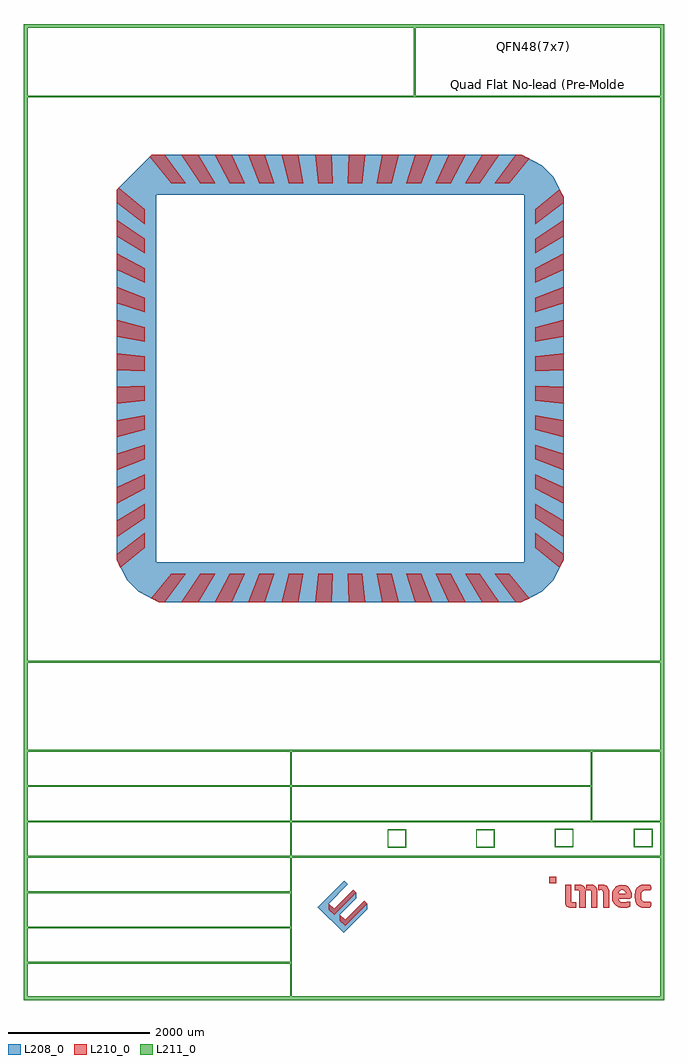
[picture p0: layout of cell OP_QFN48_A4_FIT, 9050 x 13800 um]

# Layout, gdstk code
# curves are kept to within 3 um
import gdstk
lib = gdstk.Library(unit=1e-6, precision=1e-09)
def P(c, l, *ps):  # polygons
    for p in ps: c.add(gdstk.Polygon(p, *l))
L208_0 = (208, 0)
L210_0 = (210, 0)
L211_0 = (211, 0)

new_imeclogo_mag5 = lib.new_cell('new_imecLogo_mag5')
P(new_imeclogo_mag5, L210_0, [(2610.17,0.04),(2610.17,3.28),(2585.455,3.28),(2585.455,7.54),(2576.14,7.54),(2576.14,15.04),(2565.17,15.04),(2565.17,22.54),(2557.67,22.54),(2557.67,30.04),(2542.67,30.04),(2542.67,37.54),(2527.67,37.54),(2527.67,45.04),(2520.17,45.04),(2520.17,52.54),(2505.17,52.54),(2505.17,60.04),(2497.67,60.04),(2497.67,67.54),(2490.17,67.54),(2490.17,75.04),(2482.67,75.04),(2482.67,82.54),(2475.17,82.54),(2475.17,97.54),(2467.67,97.54),(2467.67,105.04),(2460.17,105.04),(2460.17,120.04),(2452.67,120.04),(2452.67,127.54),(2445.17,127.54),(2445.17,138.4),(2437.67,138.4),(2437.67,172.54),(2430.17,172.54),(2430.17,209.675),(2422.67,209.675),(2422.67,262.54),(2415.17,262.54),(2415.17,390.04),(2422.67,390.04),(2422.67,452.91),(2430.17,452.91),(2430.17,472.54),(2437.67,472.54),(2437.67,499.24),(2445.17,499.24),(2445.17,517.54),(2452.67,517.54),(2452.67,525.04),(2460.17,525.04),(2460.17,532.54),(2467.67,532.54),(2467.67,547.54),(2475.17,547.54),(2475.17,555.04),(2482.67,555.04),(2482.67,562.54),(2490.17,562.54),(2490.17,570.04),(2497.67,570.04),(2497.67,577.54),(2504.01,577.54),(2504.01,592.54),(2520.17,592.54),(2520.17,600.04),(2535.17,600.04),(2535.17,607.54),(2542.67,607.54),(2542.67,615.04),(2562.48,615.04),(2562.48,630.4),(2590.835,630.4),(2590.835,637.54),(2640.17,637.54),(2640.17,645.04),(2782.67,645.04),(2782.67,637.54),(2830.38,637.54),(2830.38,630.04),(2850.17,630.04),(2850.17,622.54),(2857.67,622.54),(2857.67,607.54),(2865.17,607.54),(2865.17,592.54),(2872.67,592.54),(2872.67,510.04),(2865.17,510.04),(2865.17,495.305),(2848.555,495.305),(2848.555,487.54),(2662.67,487.54),(2662.67,480.04),(2640.17,480.04),(2640.17,472.54),(2632.67,472.54),(2632.67,465.04),(2625.17,465.04),(2625.17,457.54),(2617.67,457.54),(2617.67,450.04),(2610.17,450.04),(2610.17,427.54),(2602.67,427.54),(2602.67,412.54),(2595.17,412.54),(2595.17,225.04),(2602.67,225.04),(2602.67,217.54),(2609.485,217.54),(2609.485,200.97),(2617.62,200.97),(2617.62,189.98),(2623.475,189.98),(2623.475,182.09),(2629.65,182.09),(2629.65,174.885),(2635.48,174.885),(2635.48,170.765),(2645.43,170.765),(2645.43,166.99),(2653.325,166.99),(2653.325,165.04),(2662.67,165.04),(2662.67,162.555),(2831.765,162.555),(2831.765,157.54),(2850.17,157.54),(2850.17,150.04),(2857.67,150.04),(2857.67,142.54),(2865.17,142.54),(2865.17,127.54),(2872.67,127.54),(2872.67,45.04),(2865.17,45.04),(2865.17,27.5),(2857.925,27.5),(2857.925,15.04),(2844.12,15.04),(2844.12,7.54),(2831.725,7.54),(2831.725,0.04)],
  [(2009.955,0.04),(1965.955,7.005),(1887.67,46.895),(1826.35,108.215),(1780.835,197.545),(1777.67,217.54),(1777.67,427.54),(1780.485,445.33),(1826.35,535.34),(1887.67,596.66),(1964.94,636.03),(2050.59,649.595),(2136.24,636.03),(2160.17,623.835),(2160.17,440.2),(2152.67,440.2),(2152.67,450.71),(2145.17,450.71),(2145.17,465.04),(2130.17,465.04),(2130.17,480.04),(2115.17,480.04),(2115.17,487.54),(2088.19,487.54),(2088.19,495.04),(2071.68,495.04),(2071.68,502.54),(2033.29,502.54),(2033.29,495.04),(2012.63,495.04),(2012.63,487.59),(1995.01,487.59),(1995.01,479.91),(1981.78,479.91),(1981.78,465.275),(1965.78,465.275),(1965.78,450.645),(1962,450.645),(1962,438.025),(1957.67,438.025),(1957.67,382.54),(2160.17,382.54),(2160.17,623.835),(2213.51,596.66),(2274.83,535.34),(2319.655,447.365),(2325.17,412.54),(2325.17,296.915),(2317.39,296.915),(2317.39,286.53),(2307.35,286.53),(2307.35,276.755),(2297.63,276.755),(2297.63,269.375),(2291.355,269.375),(2291.355,256.01),(2283.16,256.01),(2283.16,247.54),(1957.67,247.54),(1957.67,209.835),(1962.72,209.835),(1966.805,188.64),(1971.62,188.64),(1971.62,182.665),(1976.915,182.665),(1976.915,176.38),(1982.03,176.38),(1982.03,170.325),(1993.005,165.795),(1997.4,157.54),(2014.165,153.955),(2014.165,150.04),(2182.67,150.04),(2182.67,164.97),(2272.67,165.04),(2272.67,156.405),(2280.17,156.405),(2280.17,142.54),(2287.67,142.54),(2287.67,52.54),(2278.895,52.54),(2278.895,30.21),(2265.34,30.21),(2265.34,14.57),(2247.32,14.57),(2247.32,6.12),(2210.76,6.12),(2210.76,0.205)],
  [(1530.17,0.04),(1515.18,0.215),(1515.17,465.04),(1507.67,465.04),(1507.67,472.54),(1500.17,472.54),(1500.17,480.04),(1492.67,480.04),(1492.67,487.54),(1380.17,487.535),(1380.17,644.93),(1554.2,643.61),(1613,613.65),(1654.355,572.295),(1683.22,515.65),(1687.67,487.54),(1687.67,0.04)],
  [(1192.67,0.04),(1177.67,0.06),(1177.67,472.54),(1170.17,472.54),(1170.17,480.04),(1162.67,480.04),(1162.67,487.54),(1042.735,487.61),(1042.735,645.005),(1215.17,645.04),(1231.91,640.38),(1284.305,613.685),(1325.66,572.33),(1352.625,519.42),(1357.67,487.54),(1357.67,0.06)],
  [(862.67,0.04),(847.74,0.06),(847.67,472.54),(840.17,472.54),(840.17,480.04),(825.17,480.04),(825.17,487.54),(712.665,487.645),(712.665,645.04),(870.61,645.04),(899.245,640.5),(951.64,613.805),(992.995,572.45),(1023.775,512.045),(1027.67,487.54),(1027.67,0.06)],
  [(574.395,0),(536.005,4.98),(501.37,19.425),(473.885,41.925),(456.235,70.275),(450.17,99.69),(450.185,645.04),(622.66,645.035),(622.7,150.065),(757.68,150.04),(757.67,0.04)],
  [(15.17,690.04),(15.17,690.125),(0,690.125),(0,705.04),(0.17,705.04),(0.17,855.04),(0.165,855.04),(0.165,870.045),(15.17,870.045),(15.17,870.04),(187.655,870.04),(187.655,855.04),(187.67,855.04),(187.67,690.04)])

ep_logo = lib.new_cell('EP_LOGO')
P(ep_logo, L208_0, [(24.3,0),(0,24.3),(24.9,49.2),(28.4,45.7),(10.4,27.7),(15.3,22.8),(33.3,40.8),(36.2,37.9),(36.2,32.7),(20.8,17.3),(25.7,12.4),(43.7,30.4),(46.6,27.5),(46.6,22.3)])
P(ep_logo, L210_0, [(15.3,17),(10.4,21.9),(10.4,27.7),(15.3,22.8)],
  [(25.7,6.6),(25.7,12.4),(43.7,30.4),(46.6,27.5)],
  [(25.7,6.6),(20.8,11.5),(20.8,17.3),(25.7,12.4)],
  [(15.3,17),(15.3,22.8),(33.3,40.8),(36.2,37.9)])

ep_text = lib.new_cell('EP_TEXT')
ep_text.add(gdstk.Label('www.europractice.imec.be', (3282.8,107.5), layer=211, texttype=0))
ep_text.add(gdstk.Label('Europractice', (3282.8,2445), layer=211, texttype=0))
ep_text.add(gdstk.Label('IC Service', (3285,1689.3), layer=211, texttype=0))
ep_text.add(gdstk.Label('Coordinated by IMEC', (3288.5,994.2), layer=211, texttype=0))

c_a4 = lib.new_cell('A4')
P(c_a4, L211_0, [(19200.2,5267.9),(19200.2,5792.9),(19700.2,5792.9),(19700.2,5767.9),(19225.2,5767.9),(19225.2,5292.9),(19700.2,5292.9),(19700.2,5792.9),(19725.2,5792.9),(19725.2,5267.9)],
  [(16962,5267.9),(16962,5792.9),(17462,5792.9),(17462,5767.9),(16987,5767.9),(16987,5292.9),(17462,5292.9),(17462,5792.9),(17487,5792.9),(17487,5267.9)],
  [(14735.3,5252.8),(14735.3,5777.8),(15235.3,5777.8),(15235.3,5752.8),(14760.3,5752.8),(14760.3,5277.8),(15235.3,5277.8),(15235.3,5777.8),(15260.3,5777.8),(15260.3,5252.8)],
  [(12231.6,5252.8),(12231.6,5777.8),(12731.6,5777.8),(12731.6,5752.8),(12256.6,5752.8),(12256.6,5277.8),(12731.6,5277.8),(12731.6,5777.8),(12756.6,5777.8),(12756.6,5252.8)],
  [(1950,949.9),(1950,28549.9),(19950,28549.9),(19950,28449.9),(2050,28449.9),(2050,1049.9),(19950,1049.9),(19950,28549.9),(20050,28549.9),(20050,949.9)])
c_a4.add(gdstk.FlexPath([(2000,1999.9),(9500,1999.9)], 50, ends="flush", simple_path=True, layer=211, datatype=0))  # L211_0
c_a4.add(gdstk.FlexPath([(9500,999.9),(9500,7999.9)], 50, ends="flush", simple_path=True, layer=211, datatype=0))  # L211_0
c_a4.add(gdstk.FlexPath([(2000,7999.9),(20000,7999.9)], 50, ends="flush", simple_path=True, layer=211, datatype=0))  # L211_0
c_a4.add(gdstk.FlexPath([(2000,2999.9),(9500,2999.9)], 50, ends="flush", simple_path=True, layer=211, datatype=0))  # L211_0
c_a4.add(gdstk.FlexPath([(2000,3999.9),(9500,3999.9)], 50, ends="flush", simple_path=True, layer=211, datatype=0))  # L211_0
c_a4.add(gdstk.FlexPath([(2000,4999.9),(9500,4999.9)], 50, ends="flush", simple_path=True, layer=211, datatype=0))  # L211_0
c_a4.add(gdstk.FlexPath([(2000,5999.9),(9500,5999.9)], 50, ends="flush", simple_path=True, layer=211, datatype=0))  # L211_0
c_a4.add(gdstk.FlexPath([(2000,6999.9),(9500,6999.9)], 50, ends="flush", simple_path=True, layer=211, datatype=0))  # L211_0
c_a4.add(gdstk.FlexPath([(2000,10513.45),(20000,10513.45)], 50, ends="flush", simple_path=True, layer=211, datatype=0))  # L211_0
c_a4.add(gdstk.FlexPath([(18000,5999.9),(20000,5999.9)], 50, ends="flush", simple_path=True, layer=211, datatype=0))  # L211_0
c_a4.add(gdstk.FlexPath([(18000,5999.9),(18000,7999.9)], 50, ends="flush", simple_path=True, layer=211, datatype=0))  # L211_0
c_a4.add(gdstk.FlexPath([(9500,6999.9),(18000,6999.9)], 50, ends="flush", simple_path=True, layer=211, datatype=0))  # L211_0
c_a4.add(gdstk.FlexPath([(9500,5999.9),(18000,5999.9)], 50, ends="flush", simple_path=True, layer=211, datatype=0))  # L211_0
c_a4.add(gdstk.FlexPath([(9500,4999.9),(20000,4999.9)], 50, ends="flush", simple_path=True, layer=211, datatype=0))  # L211_0
c_a4.add(gdstk.FlexPath([(2000,26499.9),(20000,26499.9)], 50, ends="flush", simple_path=True, layer=211, datatype=0))  # L211_0
c_a4.add(gdstk.FlexPath([(13000,28499.9),(13000,26499.9)], 50, ends="flush", simple_path=True, layer=211, datatype=0))  # L211_0
c_a4.add(gdstk.Reference(new_imeclogo_mag5, (16810.185,3565.565)))
c_a4.add(gdstk.Reference(ep_logo, (10258.4,2846.8), magnification=30))
c_a4.add(gdstk.Reference(ep_text, (11419.3,1585)))
c_a4.add(gdstk.Label('Extra Info:', (2858.66,8222.15), layer=211, texttype=0))
c_a4.add(gdstk.Label('Die-thickness:', (2858.7,8607.91), layer=211, texttype=0))
c_a4.add(gdstk.Label('Pad-opening:', (2858.7,8993.51), layer=211, texttype=0))
c_a4.add(gdstk.Label('Pad-pitch :', (2858.7,9379.59), layer=211, texttype=0))
c_a4.add(gdstk.Label('Qty naked:', (2329.4,4305.6), layer=211, texttype=0))
c_a4.add(gdstk.Label('Date:', (9749.6,7375.2), layer=211, texttype=0))
c_a4.add(gdstk.Label('Glass', (17896.6,5436.4), layer=211, texttype=0))
c_a4.add(gdstk.Label('Comment:', (2341.3,10170.31), layer=211, texttype=0))
c_a4.add(gdstk.Label('Request:', (2477.7,27250.2), layer=211, texttype=0))
c_a4.add(gdstk.Label('MPW:', (2293.6,7337.7), layer=211, texttype=0))
c_a4.add(gdstk.Label('Die:', (2282.9,6360.8), layer=211, texttype=0))
c_a4.add(gdstk.Label('Qty packaged:', (2330.3,5364), layer=211, texttype=0))
c_a4.add(gdstk.Label('Lid:', (9748.2,5336.2), layer=211, texttype=0))
c_a4.add(gdstk.Label('Size incl scribe:', (9764.3,6340.4), layer=211, texttype=0))
c_a4.add(gdstk.Label('Scale', (19000,7399.9), layer=211, texttype=0))
c_a4.add(gdstk.Label('10', (18950,6699.9), layer=211, texttype=0))
c_a4.add(gdstk.Label('Die Attach:', (2303.6,3315.4), layer=211, texttype=0))
c_a4.add(gdstk.Label('Wire:', (2372.2,2319), layer=211, texttype=0))
c_a4.add(gdstk.Label('Max. wire length :', (2858.74,9764.55), layer=211, texttype=0))
c_a4.add(gdstk.Label('Sealed', (13153.7,5398.2), layer=211, texttype=0))
c_a4.add(gdstk.Label('Taped', (10770.8,5383.6), layer=211, texttype=0))
c_a4.add(gdstk.Label('Glued', (15617,5421.9), layer=211, texttype=0))

op_qfn48 = lib.new_cell('OP_QFN48')
P(op_qfn48, L208_0, [(-2564.42,-3162.5),(-2600,-3144.189),(-2600,-3130.904),(-2635.89,-3125.219),(-2848.375,-3016.953),(-3017.003,-2848.325),(-3125.269,-2635.84),(-3130.946,-2600),(-3144.119,-2600),(-3162.5,-2564.283),(-3162.5,2666.1),(-2666.1,3162.5),(2563.4,3162.5),(2600,3143.664),(2600,2600),(-2600,2600),(-2600,-2600),(2600,-2600),(2600,3130.98),(2635.74,3125.319),(2848.225,3017.053),(3016.853,2848.425),(3125.119,2635.94),(3130.812,2600),(3144.311,2600),(3162.5,2564.657),(3162.5,-2563.607),(3143.771,-2600),(3130.796,-2600),(3125.119,-2635.84),(3016.853,-2848.325),(2848.225,-3016.953),(2635.74,-3125.219),(2600,-3130.88),(2600,-3142.121),(2560.401,-3162.5)])
P(op_qfn48, L210_0, [(-2564.42,-3162.5),(-2673.142,-3106.547),(-2392,-2760.5),(-2184,-2760.5),(-2482.2,-3162.5)],
  [(2184.196,2760.5),(2482.396,3162.5),(2564,3162.5),(2673.156,3106.324),(2392.196,2760.5)],
  [(2482.396,-3162.5),(2184.196,-2760.5),(2392.196,-2760.5),(2672.095,-3105.018),(2560.401,-3162.5)],
  [(-3106.427,-2673.24),(-3162.5,-2564.283),(-3162.5,-2482.396),(-2760.5,-2184.196),(-2760.5,-2392.196)],
  [(3106.181,-2673.041),(2760.5,-2392.196),(2760.5,-2184.196),(3162.5,-2482.396),(3162.5,-2563.607)],
  [(2009.596,-3162.5),(1768.196,-2760.5),(1976.196,-2760.5),(2245.996,-3162.5)],
  [(1536.796,-3162.5),(1352.196,-2760.5),(1560.196,-2760.5),(1773.196,-3162.5)],
  [(1063.996,-3162.5),(936.196,-2760.5),(1144.196,-2760.5),(1300.396,-3162.5)],
  [(591.196,-3162.5),(520.196,-2760.5),(728.196,-2760.5),(827.596,-3162.5)],
  [(118.396,-3162.5),(104.196,-2760.5),(312.196,-2760.5),(354.796,-3162.5)],
  [(-354.6,-3162.5),(-312,-2760.5),(-104,-2760.5),(-118.2,-3162.5)],
  [(-827.4,-3162.5),(-728,-2760.5),(-520,-2760.5),(-591,-3162.5)],
  [(-1300.2,-3162.5),(-1144,-2760.5),(-936,-2760.5),(-1063.8,-3162.5)],
  [(-1773,-3162.5),(-1560,-2760.5),(-1352,-2760.5),(-1536.6,-3162.5)],
  [(-2245.8,-3162.5),(-1976,-2760.5),(-1768,-2760.5),(-2009.4,-3162.5)],
  [(2760.5,2184),(2760.5,2392),(3106.634,2673.212),(3162.5,2564.657),(3162.5,2482.2)],
  [(1768.196,2760.5),(2009.596,3162.5),(2245.996,3162.5),(1976.196,2760.5)],
  [(1352.196,2760.5),(1536.796,3162.5),(1773.196,3162.5),(1560.196,2760.5)],
  [(936.196,2760.5),(1063.996,3162.5),(1300.396,3162.5),(1144.196,2760.5)],
  [(520.196,2760.5),(591.196,3162.5),(827.596,3162.5),(728.196,2760.5)],
  [(104.196,2760.5),(118.396,3162.5),(354.796,3162.5),(312.196,2760.5)],
  [(-312,2760.5),(-354.6,3162.5),(-118.2,3162.5),(-104,2760.5)],
  [(-728,2760.5),(-827.4,3162.5),(-591,3162.5),(-520,2760.5)],
  [(-1144,2760.5),(-1300.2,3162.5),(-1063.8,3162.5),(-936,2760.5)],
  [(-1560,2760.5),(-1773,3162.5),(-1536.6,3162.5),(-1352,2760.5)],
  [(-1976,2760.5),(-2245.8,3162.5),(-2009.4,3162.5),(-1768,2760.5)],
  [(3162.5,-2245.996),(2760.5,-1976.196),(2760.5,-1768.196),(3162.5,-2009.596)],
  [(3162.5,-1773.196),(2760.5,-1560.196),(2760.5,-1352.196),(3162.5,-1536.796)],
  [(3162.5,-1300.396),(2760.5,-1144.196),(2760.5,-936.196),(3162.5,-1063.996)],
  [(3162.5,-827.596),(2760.5,-728.196),(2760.5,-520.196),(3162.5,-591.196)],
  [(3162.5,-354.796),(2760.5,-312.196),(2760.5,-104.196),(3162.5,-118.396)],
  [(2760.5,104),(2760.5,312),(3162.5,354.6),(3162.5,118.2)],
  [(2760.5,520),(2760.5,728),(3162.5,827.4),(3162.5,591)],
  [(2760.5,936),(2760.5,1144),(3162.5,1300.2),(3162.5,1063.8)],
  [(2760.5,1352),(2760.5,1560),(3162.5,1773),(3162.5,1536.6)],
  [(2760.5,1768),(2760.5,1976),(3162.5,2245.8),(3162.5,2009.4)],
  [(-3162.5,-354.796),(-3162.5,-118.396),(-2760.5,-104.196),(-2760.5,-312.196)],
  [(-3162.5,-827.596),(-3162.5,-591.196),(-2760.5,-520.196),(-2760.5,-728.196)],
  [(-3162.5,-1300.396),(-3162.5,-1063.996),(-2760.5,-936.196),(-2760.5,-1144.196)],
  [(-3162.5,-1773.196),(-3162.5,-1536.796),(-2760.5,-1352.196),(-2760.5,-1560.196)],
  [(-3162.5,-2245.996),(-3162.5,-2009.596),(-2760.5,-1768.196),(-2760.5,-1976.196)],
  [(-2392,2760.5),(-2694.999,3133.451),(-2665.95,3162.5),(-2482.2,3162.5),(-2184,2760.5)],
  [(-2760.5,1768),(-3162.5,2009.4),(-3162.5,2245.8),(-2760.5,1976)],
  [(-2760.5,1352),(-3162.5,1536.6),(-3162.5,1773),(-2760.5,1560)],
  [(-2760.5,936),(-3162.5,1063.8),(-3162.5,1300.2),(-2760.5,1144)],
  [(-2760.5,2184),(-3162.5,2482.2),(-3162.5,2665.3),(-3133.092,2694.708),(-2760.5,2392)],
  [(-2760.5,520),(-3162.5,591),(-3162.5,827.4),(-2760.5,728)],
  [(-2760.5,104),(-3162.5,118.2),(-3162.5,354.6),(-2760.5,312)])
op_qfn48.add(gdstk.Label('48', (-2609.85,3403.2), layer=211, texttype=0))
op_qfn48.add(gdstk.Label('47', (-2166.95,3404.85), layer=211, texttype=0))
op_qfn48.add(gdstk.Label('46', (-1689.1,3403.2), layer=211, texttype=0))
op_qfn48.add(gdstk.Label('45', (-1199.6,3404.55), layer=211, texttype=0))
op_qfn48.add(gdstk.Label('44', (-745.1,3402.95), layer=211, texttype=0))
op_qfn48.add(gdstk.Label('43', (-243.9,3402.95), layer=211, texttype=0))
op_qfn48.add(gdstk.Label('42', (233.9,3402.95), layer=211, texttype=0))
op_qfn48.add(gdstk.Label('41', (723.4,3404.8), layer=211, texttype=0))
op_qfn48.add(gdstk.Label('40', (1224.55,3402.95), layer=211, texttype=0))
op_qfn48.add(gdstk.Label('39', (1679.1,3402.95), layer=211, texttype=0))
op_qfn48.add(gdstk.Label('38', (2180.25,3402.95), layer=211, texttype=0))
op_qfn48.add(gdstk.Label('37', (2634.8,3402.95), layer=211, texttype=0))
op_qfn48.add(gdstk.Label('36', (3444.6,2628.15), layer=211, texttype=0))
op_qfn48.add(gdstk.Label('35', (3443.8,2161.95), layer=211, texttype=0))
op_qfn48.add(gdstk.Label('34', (3444.6,1684.1), layer=211, texttype=0))
op_qfn48.add(gdstk.Label('33', (3444.6,1197.5), layer=211, texttype=0))
op_qfn48.add(gdstk.Label('32', (3444.65,731.35), layer=211, texttype=0))
op_qfn48.add(gdstk.Label('31', (3433.7,218.55), layer=211, texttype=0))
op_qfn48.add(gdstk.Label('30', (3445.35,-224.35), layer=211, texttype=0))
op_qfn48.add(gdstk.Label('29', (3443.8,-713.85), layer=211, texttype=0))
op_qfn48.add(gdstk.Label('28', (3444.5,-1203.35), layer=211, texttype=0))
op_qfn48.add(gdstk.Label('27', (3443.85,-1669.55), layer=211, texttype=0))
op_qfn48.add(gdstk.Label('26', (3443.75,-2124.05), layer=211, texttype=0))
op_qfn48.add(gdstk.Label('25', (3443.75,-2601.9), layer=211, texttype=0))
op_qfn48.add(gdstk.Label('24', (2634.8,-3379.1), layer=211, texttype=0))
op_qfn48.add(gdstk.Label('23', (2156.95,-3379.45), layer=211, texttype=0))
op_qfn48.add(gdstk.Label('22', (1667.45,-3379.45), layer=211, texttype=0))
op_qfn48.add(gdstk.Label('21', (1201.25,-3379.45), layer=211, texttype=0))
op_qfn48.add(gdstk.Label('20', (711.75,-3379), layer=211, texttype=0))
op_qfn48.add(gdstk.Label('19', (222.25,-3379), layer=211, texttype=0))
op_qfn48.add(gdstk.Label('18', (-243.9,-3379.6), layer=211, texttype=0))
op_qfn48.add(gdstk.Label('17', (-733.4,-3379.45), layer=211, texttype=0))
op_qfn48.add(gdstk.Label('16', (-1199.6,-3379.4), layer=211, texttype=0))
op_qfn48.add(gdstk.Label('15', (-1665.8,-3379.45), layer=211, texttype=0))
op_qfn48.add(gdstk.Label('14', (-2155.3,-3379), layer=211, texttype=0))
op_qfn48.add(gdstk.Label('13', (-2621.5,-3379.65), layer=211, texttype=0))
op_qfn48.add(gdstk.Label('12', (-3443.4,-2616.5), layer=211, texttype=0))
op_qfn48.add(gdstk.Label('11', (-3437.65,-2080.35), layer=211, texttype=0))
op_qfn48.add(gdstk.Label('10', (-3442.3,-1649.15), layer=211, texttype=0))
op_qfn48.add(gdstk.Label('9', (-3431.75,-1171.3), layer=211, texttype=0))
op_qfn48.add(gdstk.Label('8', (-3438.55,-693.45), layer=211, texttype=0))
op_qfn48.add(gdstk.Label('7', (-3430.65,-215.6), layer=211, texttype=0))
op_qfn48.add(gdstk.Label('6', (-3433.25,238.9), layer=211, texttype=0))
op_qfn48.add(gdstk.Label('5', (-3429.1,716.75), layer=211, texttype=0))
op_qfn48.add(gdstk.Label('4', (-3423.85,1182.95), layer=211, texttype=0))
op_qfn48.add(gdstk.Label('3', (-3439.65,1672.45), layer=211, texttype=0))
op_qfn48.add(gdstk.Label('1', (-3440.45,2604.8), layer=211, texttype=0))
op_qfn48.add(gdstk.Label('2', (-3431.75,2150.3), layer=211, texttype=0))

op_qfn48_a4_fit = lib.new_cell('OP_QFN48_A4_FIT')
op_qfn48_a4_fit.add(gdstk.Reference(c_a4, (0,0.1), magnification=0.5))
op_qfn48_a4_fit.add(gdstk.Reference(op_qfn48, (5446.25,9262.8)))
op_qfn48_a4_fit.add(gdstk.Label('Quad Flat No-lead (Pre-Molded Open-Pak)', (8229.95,13413.85), layer=211, texttype=0))
op_qfn48_a4_fit.add(gdstk.Label('QFN48(7x7)', (8181.95,13957.85), layer=211, texttype=0))

lib.write_gds('OP_QFN48_A4_FIT.gds')
